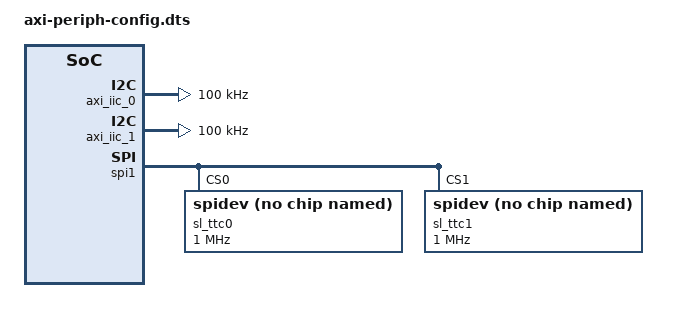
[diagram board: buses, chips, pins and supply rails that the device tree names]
/dts-v1/;
/plugin/;

&axi_iic_0 {
    status = "okay";
    clock-frequency = <100000>;
};

&axi_iic_1 {
    status = "okay";
    clock-frequency = <100000>;
};

&axi_gpio_edc {
    label = "edc-gpio-en";
};

&spi1 {
    sl_ttc0: spidev@0 {
        compatible = "rohm,dh2228fv";
        reg = <0>;
        spi-max-frequency = <1000000>;
        status = "okay";
    };

    sl_ttc1: spidev@1 {
        compatible = "rohm,dh2228fv";
        reg = <1>;
        spi-max-frequency = <1000000>;
        status = "okay";
    };
};
